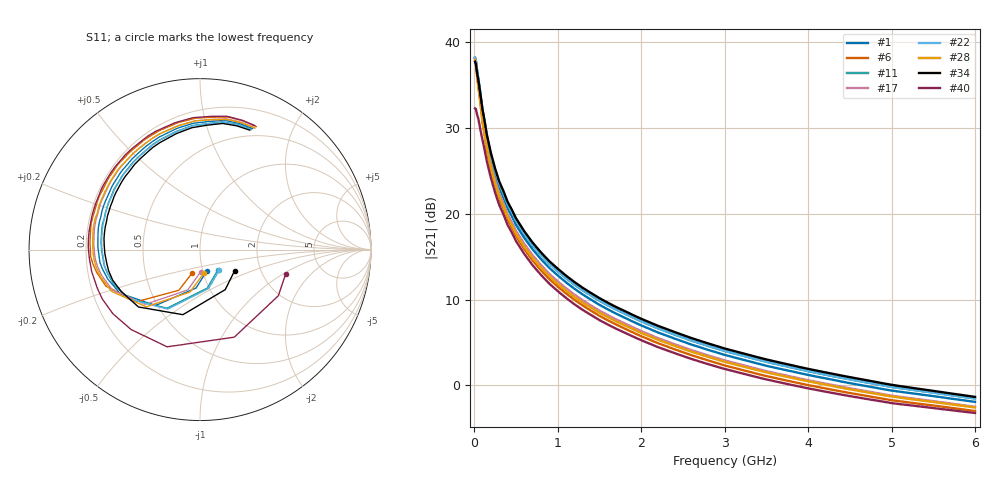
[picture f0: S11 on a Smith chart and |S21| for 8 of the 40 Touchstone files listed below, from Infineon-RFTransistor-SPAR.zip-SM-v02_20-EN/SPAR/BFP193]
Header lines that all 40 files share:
! Infineon Technologies  Discrete & RF Semiconductors
! BFP193
! Common Emitter S-Parameters:  Jan 2017
# GHz  S  MA  R  50
!  f  S11  S21  S12  S22
! GHz  MAG  ANG  MAG  ANG  MAG  ANG  MAG  ANG
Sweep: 10 MHz to 6 GHz
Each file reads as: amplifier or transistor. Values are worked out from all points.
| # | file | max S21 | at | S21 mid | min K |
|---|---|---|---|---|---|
| 1 | BFP193_VCE_4.0V_IC_70mA.s2p | 38.2 dB | 10 MHz | 6.2 dB at 2.2 GHz | 0.29 |
| 2 | BFP193_VCE_4.0V_IC_72mA.s2p | 38.2 dB | 10 MHz | 6.1 dB at 2.2 GHz | 0.32 |
| 3 | BFP193_VCE_4.0V_IC_75mA.s2p | 38.2 dB | 10 MHz | 6.0 dB at 2.2 GHz | 0.32 |
| 4 | BFP193_VCE_4.0V_IC_80mA.s2p | 38.2 dB | 10 MHz | 5.7 dB at 2.2 GHz | 0.33 |
| 5 | BFP193_VCE_4.0V_IC_85mA.s2p | 38.2 dB | 10 MHz | 5.3 dB at 2.2 GHz | 0.41 |
| 6 | BFP193_VCE_4.0V_IC_90mA.s2p | 38.1 dB | 10 MHz | 4.9 dB at 2.2 GHz | 0.43 |
| 7 | BFP193_VCE_4.0V_IC_92mA.s2p | 38.0 dB | 10 MHz | 4.7 dB at 2.2 GHz | 0.50 |
| 8 | BFP193_VCE_4.0V_IC_95mA.s2p | 37.9 dB | 10 MHz | 4.4 dB at 2.2 GHz | 0.49 |
| 9 | BFP193_VCE_5.0V_IC_0.10A.s2p | 37.9 dB | 10 MHz | 4.7 dB at 2.2 GHz | 0.48 |
| 10 | BFP193_VCE_5.0V_IC_0.11A.s2p | 37.5 dB | 10 MHz | 3.7 dB at 2.2 GHz | 0.57 |
| 11 | BFP193_VCE_5.0V_IC_65mA.s2p | 38.1 dB | 10 MHz | 6.6 dB at 2.2 GHz | 0.24 |
| 12 | BFP193_VCE_5.0V_IC_70mA.s2p | 38.2 dB | 10 MHz | 6.5 dB at 2.2 GHz | 0.26 |
| 13 | BFP193_VCE_5.0V_IC_72mA.s2p | 38.2 dB | 10 MHz | 6.5 dB at 2.2 GHz | 0.28 |
| 14 | BFP193_VCE_5.0V_IC_75mA.s2p | 38.3 dB | 10 MHz | 6.4 dB at 2.2 GHz | 0.29 |
| 15 | BFP193_VCE_5.0V_IC_80mA.s2p | 38.3 dB | 10 MHz | 6.1 dB at 2.2 GHz | 0.31 |
| 16 | BFP193_VCE_5.0V_IC_85mA.s2p | 38.3 dB | 10 MHz | 5.9 dB at 2.2 GHz | 0.37 |
| 17 | BFP193_VCE_5.0V_IC_90mA.s2p | 38.2 dB | 10 MHz | 5.5 dB at 2.2 GHz | 0.38 |
| 18 | BFP193_VCE_5.0V_IC_92mA.s2p | 38.2 dB | 10 MHz | 5.4 dB at 2.2 GHz | 0.41 |
| 19 | BFP193_VCE_5.0V_IC_95mA.s2p | 38.1 dB | 10 MHz | 5.1 dB at 2.2 GHz | 0.45 |
| 20 | BFP193_VCE_6.0V_IC_65mA.s2p | 38.0 dB | 10 MHz | 6.8 dB at 2.2 GHz | 0.23 |
| 21 | BFP193_VCE_6.0V_IC_70mA.s2p | 38.2 dB | 10 MHz | 6.7 dB at 2.2 GHz | 0.23 |
| 22 | BFP193_VCE_6.0V_IC_72mA.s2p | 38.2 dB | 10 MHz | 6.7 dB at 2.2 GHz | 0.27 |
| 23 | BFP193_VCE_6.0V_IC_75mA.s2p | 38.2 dB | 10 MHz | 6.6 dB at 2.2 GHz | 0.34 |
| 24 | BFP193_VCE_6.0V_IC_80mA.s2p | 38.3 dB | 10 MHz | 6.3 dB at 2.2 GHz | 0.32 |
| 25 | BFP193_VCE_6.0V_IC_85mA.s2p | 38.2 dB | 10 MHz | 6.1 dB at 2.2 GHz | 0.37 |
| 26 | BFP193_VCE_6.0V_IC_90mA.s2p | 38.1 dB | 10 MHz | 5.7 dB at 2.2 GHz | 0.37 |
| 27 | BFP193_VCE_6.0V_IC_92mA.s2p | 38.0 dB | 10 MHz | 5.5 dB at 2.2 GHz | 0.41 |
| 28 | BFP193_VCE_6.0V_IC_95mA.s2p | 37.9 dB | 10 MHz | 5.3 dB at 2.2 GHz | 0.42 |
| 29 | BFP193_VCE_7.0V_IC_65mA.s2p | 37.9 dB | 10 MHz | 7.0 dB at 2.2 GHz | 0.22 |
| 30 | BFP193_VCE_7.0V_IC_70mA.s2p | 38.0 dB | 10 MHz | 6.8 dB at 2.2 GHz | 0.23 |
| 31 | BFP193_VCE_7.0V_IC_72mA.s2p | 38.0 dB | 10 MHz | 6.7 dB at 2.2 GHz | 0.27 |
| 32 | BFP193_VCE_7.0V_IC_75mA.s2p | 38.0 dB | 10 MHz | 6.6 dB at 2.2 GHz | 0.26 |
| 33 | BFP193_VCE_7.0V_IC_80mA.s2p | 37.9 dB | 10 MHz | 6.2 dB at 2.2 GHz | 0.33 |
| 34 | BFP193_VCE_8.0V_IC_65mA.s2p | 37.7 dB | 10 MHz | 6.9 dB at 2.2 GHz | 0.24 |
| 35 | BFP193_VCE_8.0V_IC_70mA.s2p | 37.6 dB | 10 MHz | 6.6 dB at 2.2 GHz | 0.25 |
| 36 | BFP193_VCE_8.0V_IC_72mA.s2p | 37.5 dB | 10 MHz | 6.4 dB at 2.2 GHz | 0.31 |
| 37 | BFP193_w_noise_VCE_1.0V_IC_5.0mA.s2p | 24.4 dB | 20 MHz | 2.7 dB at 2.2 GHz | -0.03 |
| 38 | BFP193_w_noise_VCE_1.0V_IC_8.0mA.s2p | 27.9 dB | 20 MHz | 3.6 dB at 2.2 GHz | 0.00 |
| 39 | BFP193_w_noise_VCE_1.0V_IC_10mA.s2p | 29.4 dB | 20 MHz | 4.0 dB at 2.2 GHz | 0.02 |
| 40 | BFP193_w_noise_VCE_1.0V_IC_16mA.s2p | 32.3 dB | 10 MHz | 4.5 dB at 2.2 GHz | 0.07 |

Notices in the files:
Hoja de datos/BFP 450/Infineon-RFTransistor-SPAR.zip-SM-v02_20-EN/SPAR/BFP193/BFP193_VCE_4.0V_IC_70mA.s2p:
(c) 2017  Infineon Technologies AG, Munich
